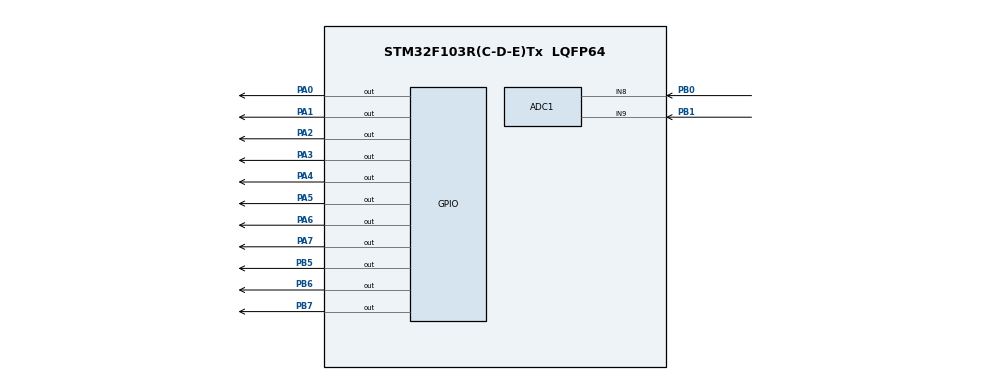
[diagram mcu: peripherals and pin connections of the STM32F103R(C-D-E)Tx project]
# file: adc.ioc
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ADC1.Channel-6\#ChannelRegularConversion=ADC_CHANNEL_8
ADC1.Channel-7\#ChannelRegularConversion=ADC_CHANNEL_9
ADC1.ContinuousConvMode=DISABLE
ADC1.DataAlign=ADC_DATAALIGN_RIGHT
ADC1.DiscontinuousConvMode=DISABLE
ADC1.EnableRegularConversion=ENABLE
ADC1.InjNumberOfConversion=0
ADC1.NbrOfConversion=2
ADC1.NbrOfConversionFlag=1
ADC1.Rank-6\#ChannelRegularConversion=1
ADC1.Rank-7\#ChannelRegularConversion=2
ADC1.SamplingTime-6\#ChannelRegularConversion=ADC_SAMPLETIME_7CYCLES_5
ADC1.SamplingTime-7\#ChannelRegularConversion=ADC_SAMPLETIME_28CYCLES_5
ADC1.ScanConvMode=ADC_SCAN_ENABLE
ADC1.master=1
Mcu.Family=STM32F1
Mcu.Name=STM32F103R(C-D-E)Tx
Mcu.Package=LQFP64
NVIC.PriorityGroup=NVIC_PRIORITYGROUP_4
PA0-WKUP.Signal=GPIO_Output
PA1.Signal=GPIO_Output
PA2.Signal=GPIO_Output
PA3.Signal=GPIO_Output
PA4.Signal=GPIO_Output
PA5.Signal=GPIO_Output
PA6.Signal=GPIO_Output
PA7.Signal=GPIO_Output
PB0.Signal=ADCx_IN8
PB1.Signal=ADCx_IN9
PB5.Signal=GPIO_Output
PB6.Signal=GPIO_Output
PB7.Signal=GPIO_Output
PD0-OSC_IN.Mode=HSE-External-Oscillator
PD0-OSC_IN.Signal=RCC_OSC_IN
PD1-OSC_OUT.Mode=HSE-External-Oscillator
PD1-OSC_OUT.Signal=RCC_OSC_OUT
ProjectManager.TargetToolchain=EWARM
RCC.APB1Freq_Value=8000000
RCC.APB2Freq_Value=8000000
RCC.SYSCLKSource=RCC_SYSCLKSOURCE_HSE
SH.ADCx_IN8.0=ADC1_IN8,IN8
SH.ADCx_IN9.0=ADC1_IN9,IN9
board=adc

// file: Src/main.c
/**
  ******************************************************************************
  * File Name          : main.c
  * Description        : Main program body
  ******************************************************************************
  *
  * COPYRIGHT(c) 2016 STMicroelectronics
  *
  * Redistribution and use in source and binary forms, with or without modification,
  * are permitted provided that the following conditions are met:
  *   1. Redistributions of source code must retain the above copyright notice,
  *      this list of conditions and the following disclaimer.
  *   2. Redistributions in binary form must reproduce the above copyright notice,
  *      this list of conditions and the following disclaimer in the documentation
  *      and/or other materials provided with the distribution.
  *   3. Neither the name of STMicroelectronics nor the names of its contributors
  *      may be used to endorse or promote products derived from this software
  *      without specific prior written permission.
  *
  * THIS SOFTWARE IS PROVIDED BY THE COPYRIGHT HOLDERS AND CONTRIBUTORS "AS IS"
  * AND ANY EXPRESS OR IMPLIED WARRANTIES, INCLUDING, BUT NOT LIMITED TO, THE
  * IMPLIED WARRANTIES OF MERCHANTABILITY AND FITNESS FOR A PARTICULAR PURPOSE ARE
  * DISCLAIMED. IN NO EVENT SHALL THE COPYRIGHT HOLDER OR CONTRIBUTORS BE LIABLE
  * FOR ANY DIRECT, INDIRECT, INCIDENTAL, SPECIAL, EXEMPLARY, OR CONSEQUENTIAL
  * DAMAGES (INCLUDING, BUT NOT LIMITED TO, PROCUREMENT OF SUBSTITUTE GOODS OR
  * SERVICES; LOSS OF USE, DATA, OR PROFITS; OR BUSINESS INTERRUPTION) HOWEVER
  * CAUSED AND ON ANY THEORY OF LIABILITY, WHETHER IN CONTRACT, STRICT LIABILITY,
  * OR TORT (INCLUDING NEGLIGENCE OR OTHERWISE) ARISING IN ANY WAY OUT OF THE USE
  * OF THIS SOFTWARE, EVEN IF ADVISED OF THE POSSIBILITY OF SUCH DAMAGE.
  *
  ******************************************************************************
  */
#include "stm32f1xx_hal.h"

/* USER CODE BEGIN Includes */

#include "LCD\lcd.h"
#include <stdio.h>

/* USER CODE END Includes */

ADC_HandleTypeDef hadc1;

float v;
char str[17];

/* USER CODE BEGIN PV */
/* Private variables ---------------------------------------------------------*/

/* USER CODE END PV */

void SystemClock_Config(void);
static void MX_GPIO_Init(void);
static void MX_ADC1_Init(void);

/* USER CODE BEGIN PFP */
/* Private function prototypes -----------------------------------------------*/

/* USER CODE END PFP */

int main(void)
{

  /* MCU Configuration----------------------------------------------------------*/

  /* Reset of all peripherals, Initializes the Flash interface and the Systick. */
  HAL_Init();

  /* Configure the system clock */
  SystemClock_Config();

  /* Initialize all configured peripherals */
  MX_GPIO_Init();
  MX_ADC1_Init();

  /* USER CODE BEGIN 2 */

  lcd_init();
  lcd_clear();

  /* USER CODE END 2 */

  /* Infinite loop */
  /* USER CODE BEGIN WHILE */

  while (1)
  {
    hadc1.Init.NbrOfConversion = 1;
    HAL_ADC_Init(&hadc1);
    HAL_ADC_Start(&hadc1);

    if (HAL_ADC_PollForConversion(&hadc1, 500) == HAL_OK)
    {
      v = HAL_ADC_GetValue(&hadc1);
      v=(v/4095)*3.3;
      sprintf(str, "V1=%0.2f", v);
      lcd_gotoxy(0,0);
      lcd_puts(str);
    }
    HAL_ADC_Stop(&hadc1);

    hadc1.Init.NbrOfConversion = 2;
    HAL_ADC_Init(&hadc1);
    HAL_ADC_Start(&hadc1);

    if (HAL_ADC_PollForConversion(&hadc1, 500) == HAL_OK)
    {
      v = HAL_ADC_GetValue(&hadc1);
      v=(v/4095)*3.3;
      sprintf(str, "V2=%0.2f", v);
      lcd_gotoxy(0,1);
      lcd_puts(str);
    }
    HAL_ADC_Stop(&hadc1);
  }
  /* USER CODE END WHILE */

  }

/** System Clock Configuration
*/
void SystemClock_Config(void)
{

  RCC_OscInitTypeDef RCC_OscInitStruct;
  RCC_ClkInitTypeDef RCC_ClkInitStruct;
  RCC_PeriphCLKInitTypeDef PeriphClkInit;

  RCC_OscInitStruct.OscillatorType = RCC_OSCILLATORTYPE_HSE;
  RCC_OscInitStruct.HSEState = RCC_HSE_ON;
  RCC_OscInitStruct.PLL.PLLState = RCC_PLL_NONE;
  HAL_RCC_OscConfig(&RCC_OscInitStruct);

  RCC_ClkInitStruct.ClockType = RCC_CLOCKTYPE_SYSCLK;
  RCC_ClkInitStruct.SYSCLKSource = RCC_SYSCLKSOURCE_HSE;
  RCC_ClkInitStruct.AHBCLKDivider = RCC_SYSCLK_DIV1;
  RCC_ClkInitStruct.APB1CLKDivider = RCC_HCLK_DIV1;
  RCC_ClkInitStruct.APB2CLKDivider = RCC_HCLK_DIV1;
  HAL_RCC_ClockConfig(&RCC_ClkInitStruct, FLASH_LATENCY_0);

  PeriphClkInit.PeriphClockSelection = RCC_PERIPHCLK_ADC;
  PeriphClkInit.AdcClockSelection = RCC_ADCPCLK2_DIV2;
  HAL_RCCEx_PeriphCLKConfig(&PeriphClkInit);

  HAL_SYSTICK_Config(HAL_RCC_GetHCLKFreq()/1000);

  HAL_SYSTICK_CLKSourceConfig(SYSTICK_CLKSOURCE_HCLK);

  /* SysTick_IRQn interrupt configuration */
  HAL_NVIC_SetPriority(SysTick_IRQn, 0, 0);
}

/* ADC1 init function */
void MX_ADC1_Init(void)
{
  ADC_ChannelConfTypeDef sConfig;

    /**Common config
    */
  hadc1.Instance = ADC1;
  hadc1.Init.ScanConvMode = ADC_SCAN_ENABLE;
  hadc1.Init.ContinuousConvMode = DISABLE;
  hadc1.Init.DiscontinuousConvMode = DISABLE;
  hadc1.Init.ExternalTrigConv = ADC_SOFTWARE_START;
  hadc1.Init.DataAlign = ADC_DATAALIGN_RIGHT;
  hadc1.Init.NbrOfConversion = 2;
  HAL_ADC_Init(&hadc1);

    /**Configure Regular Channel
    */
  sConfig.Channel = ADC_CHANNEL_8;
  sConfig.Rank = 1;
  sConfig.SamplingTime = ADC_SAMPLETIME_7CYCLES_5;
  HAL_ADC_ConfigChannel(&hadc1, &sConfig);

    /**Configure Regular Channel
    */
  sConfig.Channel = ADC_CHANNEL_9;
  sConfig.Rank = 2;
  sConfig.SamplingTime = ADC_SAMPLETIME_28CYCLES_5;
  HAL_ADC_ConfigChannel(&hadc1, &sConfig);
}

/** Configure pins as
        * Analog
        * Input
        * Output
        * EVENT_OUT
        * EXTI
*/
void MX_GPIO_Init(void)
{

  GPIO_InitTypeDef GPIO_InitStruct;

  /* GPIO Ports Clock Enable */
  __GPIOD_CLK_ENABLE();
  __GPIOA_CLK_ENABLE();
  __GPIOB_CLK_ENABLE();

  /*Configure GPIO pins : PA0 PA1 PA2 PA3
                           PA4 PA5 PA6 PA7 */
  GPIO_InitStruct.Pin = GPIO_PIN_0|GPIO_PIN_1|GPIO_PIN_2|GPIO_PIN_3
                          |GPIO_PIN_4|GPIO_PIN_5|GPIO_PIN_6|GPIO_PIN_7;
  GPIO_InitStruct.Mode = GPIO_MODE_OUTPUT_PP;
  GPIO_InitStruct.Speed = GPIO_SPEED_LOW;
  HAL_GPIO_Init(GPIOA, &GPIO_InitStruct);

  /*Configure GPIO pins : PB5 PB6 PB7 */
  GPIO_InitStruct.Pin = GPIO_PIN_5|GPIO_PIN_6|GPIO_PIN_7;
  GPIO_InitStruct.Mode = GPIO_MODE_OUTPUT_PP;
  GPIO_InitStruct.Speed = GPIO_SPEED_LOW;
  HAL_GPIO_Init(GPIOB, &GPIO_InitStruct);

}

/************************ (C) COPYRIGHT STMicroelectronics *****END OF FILE****/
